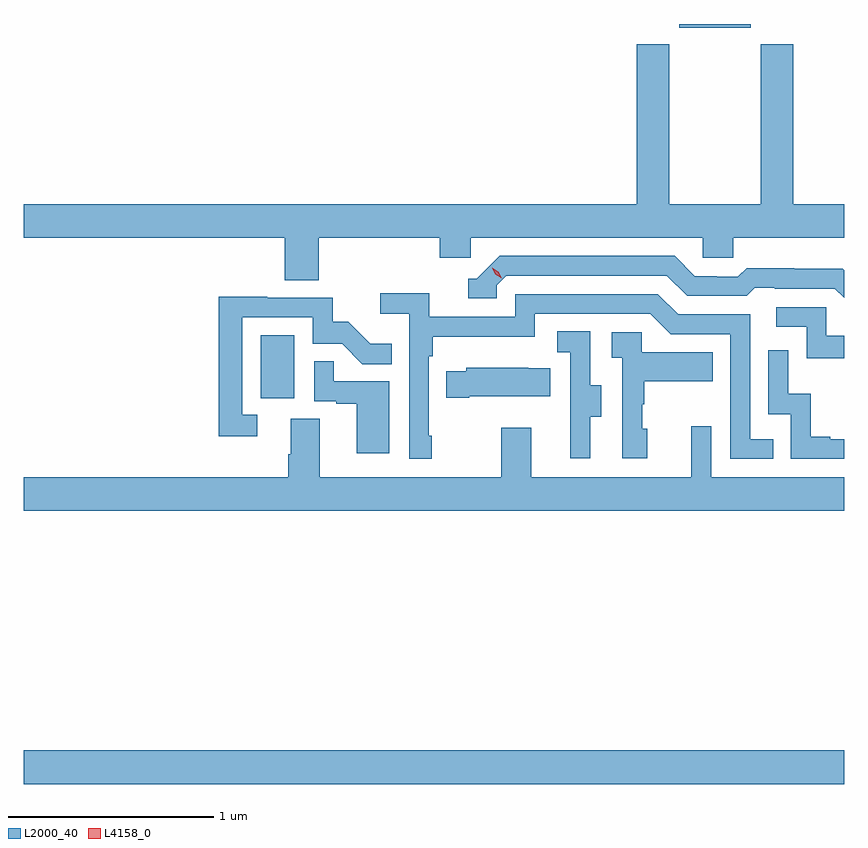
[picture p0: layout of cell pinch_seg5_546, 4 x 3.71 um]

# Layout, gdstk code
import gdstk
lib = gdstk.Library(unit=1e-6, precision=1e-09)
def R(c, l, rs):  # rectangles x0, y0, x1, y1
    for r in rs: c.add(gdstk.rectangle(r[:2], r[2:], *l))
def P(c, l, *ps):  # polygons
    for p in ps: c.add(gdstk.Polygon(p, *l))
L2000_40 = (2000, 40)
L4158_0 = (4158, 0)

pinch_seg5_546 = lib.new_cell('pinch_seg5_546')
R(pinch_seg5_546, L2000_40, [(972.911,844.772,976.911,844.936), (974.066,846.654,974.23,846.961), (976.106,848.459,976.456,848.478)])
P(pinch_seg5_546, L2000_40, [(976.059,848.38),(975.899,848.38),(975.899,847.6),(972.911,847.6),(972.911,847.436),(974.183,847.436),(974.183,847.228),(974.348,847.228),(974.348,847.436),(974.939,847.436),(974.939,847.338),(975.09,847.338),(975.09,847.436),(976.221,847.436),(976.221,847.338),(976.371,847.338),(976.371,847.436),(976.911,847.436),(976.911,847.6),(976.664,847.6),(976.664,848.38),(976.504,848.38),(976.504,847.6),(976.059,847.6)],
  [(975.216,847.203),(975.264,847.251),(976.047,847.251),(976.146,847.152),(976.435,847.152),(976.474,847.191),(976.573,847.191),(976.573,847.188),(976.866,847.188),(976.911,847.143),(976.911,847.278),(976.904,847.285),(976.668,847.285),(976.668,847.288),(976.435,847.288),(976.393,847.245),(976.29,847.245),(976.29,847.248),(976.183,847.248),(976.084,847.347),(975.231,847.347),(975.12,847.236),(975.077,847.236),(975.077,847.14),(975.216,847.14)],
  [(974.899,846.469),(974.886,846.469),(974.886,846.857),(974.906,846.857),(974.906,846.953),(975.402,846.953),(975.402,847.065),(975.966,847.065),(976.065,846.966),(976.356,846.966),(976.356,846.357),(976.565,846.357),(976.565,846.453),(976.452,846.453),(976.452,847.062),(976.102,847.062),(976.003,847.161),(975.306,847.161),(975.306,847.05),(974.888,847.05),(974.888,847.166),(974.649,847.166),(974.649,847.064),(974.79,847.064),(974.79,846.357),(974.899,846.357)],
  [(974.05,846.573),(973.977,846.573),(973.977,847.047),(974.319,847.047),(974.319,846.918),(974.463,846.918),(974.561,846.82),(974.705,846.82),(974.705,846.919),(974.601,846.919),(974.494,847.026),(974.418,847.026),(974.418,847.143),(974.099,847.143),(974.099,847.148),(973.861,847.148),(973.861,846.468),(974.05,846.468)],
  [(976.911,846.957),(976.824,846.957),(976.824,847.098),(976.581,847.098),(976.581,847.002),(976.728,847.002),(976.728,846.849),(976.911,846.849)],
  [(975.673,846.562),(975.727,846.562),(975.727,846.717),(975.672,846.717),(975.672,846.98),(975.513,846.98),(975.513,846.877),(975.576,846.877),(975.576,846.573),(975.575,846.573),(975.575,846.36),(975.673,846.36)],
  [(975.952,846.504),(975.927,846.504),(975.927,846.623),(975.937,846.623),(975.937,846.737),(976.271,846.737),(976.271,846.877),(975.924,846.877),(975.924,846.975),(975.777,846.975),(975.777,846.851),(975.828,846.851),(975.828,846.36),(975.952,846.36)],
  [(976.911,846.453),(976.843,846.453),(976.843,846.466),(976.748,846.466),(976.748,846.674),(976.638,846.674),(976.638,846.886),(976.542,846.886),(976.542,846.576),(976.65,846.576),(976.65,846.357),(976.911,846.357)],
  [(974.692,846.735),(974.423,846.735),(974.423,846.833),(974.328,846.833),(974.328,846.639),(974.435,846.639),(974.435,846.627),(974.534,846.627),(974.534,846.384),(974.692,846.384)],
  [(975.082,846.662),(975.479,846.662),(975.479,846.799),(975.371,846.799),(975.371,846.802),(975.069,846.802),(975.069,846.784),(974.971,846.784),(974.971,846.655),(975.082,846.655)],
  [(976.911,846.268),(976.263,846.268),(976.263,846.517),(976.166,846.517),(976.166,846.268),(975.385,846.268),(975.385,846.508),(975.238,846.508),(975.238,846.268),(974.353,846.268),(974.353,846.554),(974.213,846.554),(974.213,846.38),(974.201,846.38),(974.201,846.268),(972.911,846.268),(972.911,846.104),(976.911,846.104)])
P(pinch_seg5_546, L4158_0, [(975.241,847.238),(975.21,847.257),(975.194,847.29),(975.194,847.29),(975.194,847.29),(975.225,847.271),(975.241,847.238),(975.241,847.238)])

lib.write_gds('pinch_seg5_546.gds')
